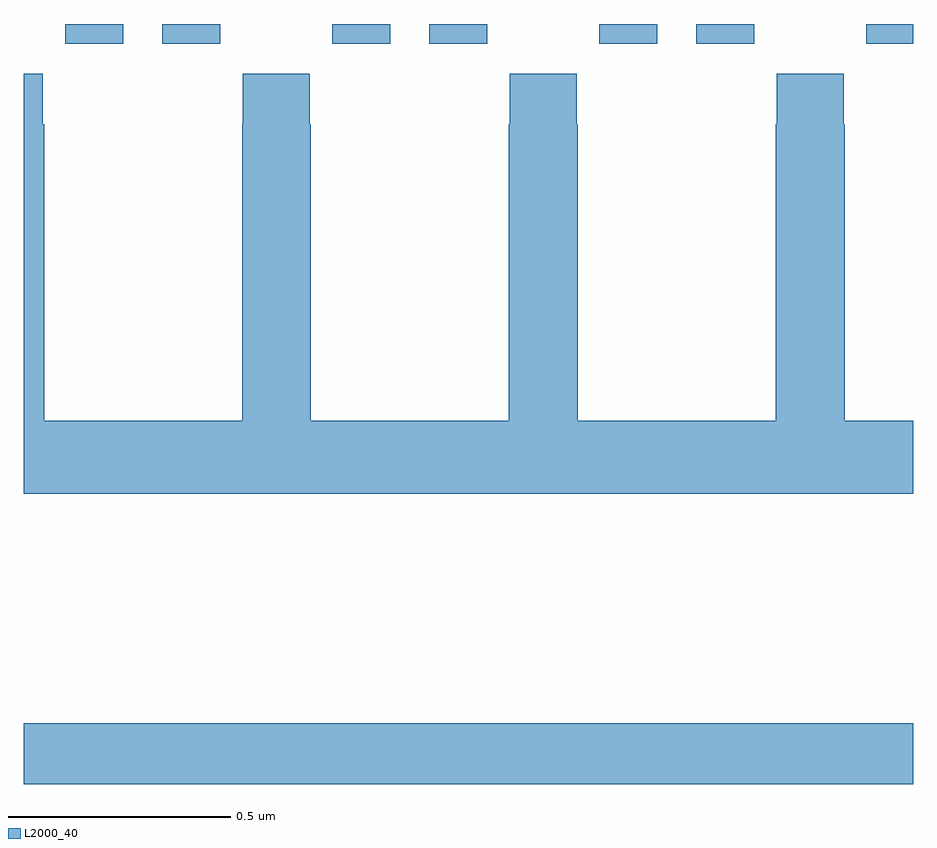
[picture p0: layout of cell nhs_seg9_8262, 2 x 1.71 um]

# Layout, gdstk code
import gdstk
lib = gdstk.Library(unit=1e-6, precision=1e-09)
def R(c, l, rs):  # rectangles x0, y0, x1, y1
    for r in rs: c.add(gdstk.rectangle(r[:2], r[2:], *l))
def P(c, l, *ps):  # polygons
    for p in ps: c.add(gdstk.Polygon(p, *l))
L2000_40 = (2000, 40)

nhs_seg9_8262 = lib.new_cell('nhs_seg9_8262')
R(nhs_seg9_8262, L2000_40, [(215,1171.792,217,1171.928), (215.094,1173.456,215.224,1173.5), (215.312,1173.456,215.442,1173.5), (215.694,1173.456,215.824,1173.5), (215.912,1173.456,216.042,1173.5), (216.294,1173.456,216.424,1173.5), (216.512,1173.456,216.642,1173.5), (216.894,1173.456,217,1173.5)])
P(nhs_seg9_8262, L2000_40, [(217,1172.608),(216.846,1172.608),(216.846,1173.275),(216.843,1173.275),(216.843,1173.388),(216.693,1173.388),(216.693,1173.275),(216.691,1173.275),(216.691,1172.608),(216.246,1172.608),(216.246,1173.275),(216.243,1173.275),(216.243,1173.388),(216.093,1173.388),(216.093,1173.275),(216.091,1173.275),(216.091,1172.608),(215.646,1172.608),(215.646,1173.275),(215.643,1173.275),(215.643,1173.388),(215.493,1173.388),(215.493,1173.275),(215.491,1173.275),(215.491,1172.608),(215.046,1172.608),(215.046,1173.275),(215.043,1173.275),(215.043,1173.388),(215,1173.388),(215,1172.444),(217,1172.444)])

lib.write_gds('nhs_seg9_8262.gds')
